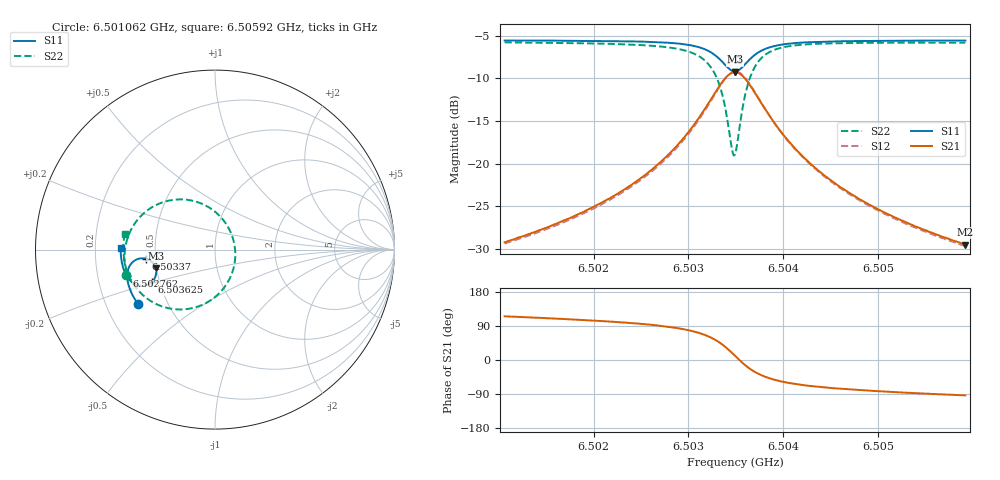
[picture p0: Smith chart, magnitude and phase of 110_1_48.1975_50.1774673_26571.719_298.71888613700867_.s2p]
#  HZ  S  RI  R  50.00
! Rohde & Schwarz Vector Network Analyzer
! Rohde-Schwarz,ZNB20-2Port,1311601062101988,3.16
! Created: UTC 3/20/2024, 11:40:57 AM
! freq[Hz]  re:S11  im:S11  re:S21  im:S21  re:S12  im:S12  re:S22  im:S22
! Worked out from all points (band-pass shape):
!   401 points, 6.501062 GHz to 6.50592 GHz, reference 50 ohm
!   highest |S21| = -9.28 dB at 6.503491 GHz (marker M1); lowest = -29.5 dB at 6.50592 GHz (marker M2)
!   |S21| within 3 dB of the highest: 6.503247 GHz to 6.503733 GHz (485.8 kHz wide, 0.00747 % of centre)
!   lowest |S11| = -9.2 dB at 6.503491 GHz (marker M3), VSWR 2.06, Z = 24.7 - j5.78 ohm
!   |S11| at or under -10 dB: nowhere
!   |S22| runs from -19.0 to -5.8 dB; largest |S21 - S12| = 0.012
!   S11 on the Smith chart (normalised r, x): 6.501062 GHz: 0.34, -0.28; 6.502762 GHz: 0.33, -0.13; 6.50337 GHz: 0.44, -0.05; 6.503625 GHz: 0.45, -0.19; 6.50592 GHz: 0.31, +0.01
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6.5010617e9  -0.4313 -0.3019  -0.0149 0.0313  -0.013 0.0314  -0.4931 -0.1431
6.5018755e9  -0.4656 -0.2408  -0.014 0.0498  -0.0115 0.0492  -0.5043 -0.0544
6.5023128e9  -0.4806 -0.2012  -0.011 0.0692  -0.0079 0.0679  -0.5001 0.00959
6.5026893e9  -0.489 -0.1586  -0.00117 0.1001  0.00244 0.0978  -0.4785 0.0876
6.5027622e9  -0.4893 -0.1487  0.0029 0.1092  0.00661 0.1064  -0.4695 0.1072
6.5029687e9  -0.4855 -0.1152  0.0245 0.1435  0.0282 0.139  -0.4242 0.1752
6.5031266e9  -0.4705 -0.0828  0.0645 0.1799  0.0675 0.1739  -0.346 0.239
6.5032724e9  -0.4321 -0.0532  0.1478 0.2088  0.1484 0.2023  -0.1944 0.28
6.503321e9  -0.4106 -0.0484  0.191 0.2072  0.1911 0.2013  -0.1185 0.2706
6.5033695e9  -0.3849 -0.0506  0.2405 0.1914  0.2407 0.1866  -0.0335 0.235
6.5034546e9  -0.3416 -0.0806  0.3197 0.1152  0.3221 0.1109  0.0925 0.0845
6.503491e9  -0.3307 -0.103  0.3372 0.0656  0.3408 0.0599  0.1128 -0.00884
6.5035153e9  -0.3278 -0.1196  0.3404 0.0303  0.3443 0.0235  0.1096 -0.0731
6.5035517e9  -0.3302 -0.144  0.3325 -0.0203  0.336 -0.0295  0.0813 -0.1634
6.5036246e9  -0.3528 -0.1814  0.2849 -0.0972  0.2846 -0.1091  -0.0315 -0.2872
6.5037218e9  -0.3942 -0.201  0.2055 -0.1408  0.2003 -0.151  -0.1934 -0.3336
6.5038797e9  -0.4438 -0.1934  0.1164 -0.1396  0.1092 -0.1453  -0.355 -0.2883
6.5040497e9  -0.4731 -0.1722  0.0681 -0.1185  0.0616 -0.121  -0.4337 -0.2202
6.5043048e9  -0.4957 -0.1408  0.0349 -0.0915  0.03 -0.0919  -0.4816 -0.1415
6.5047056e9  -0.5124 -0.0985  0.0142 -0.0655  0.0109 -0.0649  -0.5055 -0.0594
6.5051186e9  -0.5208 -0.0599  0.0051 -0.0498  0.00295 -0.0492  -0.5107 0.000257
6.5059203e9  -0.5259 0.00846  -0.00197 -0.0336  -0.00345 -0.0327  -0.5033 0.0873
